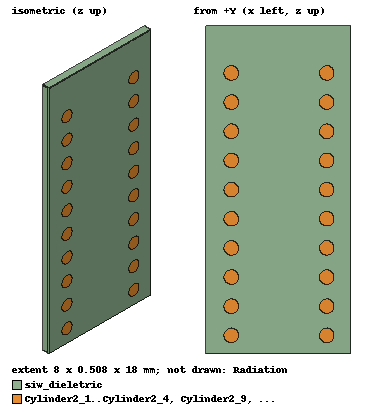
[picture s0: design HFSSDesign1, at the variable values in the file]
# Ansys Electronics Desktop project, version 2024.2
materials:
  vacuum: permittivity=1
  copper: permeability=0.999991 conductivity=58000000
  air: permittivity=1.0006 permeability=1.0000004
  Arlon DiClad 880 (tm): permittivity=2.2 dielectric_loss_tangent=0.0009
  Al2_O3_ceramic: permittivity=9.8
  Arlon 25FR (tm): permittivity=3.58 dielectric_loss_tangent=0.0035

design HFSSDesign1 (HFSS, HFSS Modal Network, model units mm)
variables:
  a = 8mm
  b = 0.508mm
  L = 18mm
  th = 0.05mm
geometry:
  Radiation [air] = box(corner=(-a/2 -2.5mm, -b/2 -2.5mm, 0mm), size=(a+5mm, b+5mm, L))
  siw_dieletric [Arlon DiClad 880 (tm)] = box(corner=(-a/2, -b/2, 0mm), size=(a, b, L))
  Cylinder1 [copper] = cylinder(axis=Y, base_centre=(-a/4, -b/2, 1.5mm), radius=0.4mm, height=b)
  Cylinder1copia = cylinder(axis=Y, base_centre=(-a/4, -b/2, 1.5mm), radius=0.75mm, height=b)
  Cylinder1.subtract(Cylinder1copia)
  Cylinder1_2..Cylinder1_10 [copper] = Cylinder1.duplicate_along_line(step=(0mm, 0mm, 1.6mm), total=10)
  Cylinder1_11 [copper] = Cylinder1.duplicate_along_line(step=(5.237mm, 0mm, 0mm), total=2)
  Cylinder1_11_1..Cylinder1_11_9 [copper] = Cylinder1_11.duplicate_along_line(step=(0mm, 0mm, 1.6mm), total=10)
  Cylinder2 [copper] = cylinder(axis=Y, base_centre=(-a/3, -b/2, 1mm), radius=0.4mm, height=b)
  Cylinder2_1..Cylinder2_9 [copper] = Cylinder2.duplicate_along_line(step=(0mm, 0mm, 1.6mm), total=10)
  Cylinder2_10 [copper] = Cylinder2.duplicate_along_line(step=(5.237mm, 0mm, 0mm), total=2)
  Cylinder2_10_1..Cylinder2_10_9 [copper] = Cylinder2_10.duplicate_along_line(step=(0mm, 0mm, 1.6mm), total=10)
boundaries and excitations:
  Rad1: Radiation Objects=Radiation
  1: Wave Port Faces=siw_dieletric.face(-z) WavePortType=Default NumModes=4 Modes{Mode1{IntLine{(0, -0.254, 0) -> (0, 0.254, 0)} CharImp=Zpi} Mode2{CharImp=Zpi} Mode3{CharImp=Zpi} Mode4{CharImp=Zpi}}
  2: Wave Port Faces=siw_dieletric.face(+z) WavePortType=Default NumModes=4 Modes{Mode1{IntLine{(0, -0.254, 18) -> (0, 0.254, 18)} CharImp=Zpi} Mode2{CharImp=Zpi} Mode3{CharImp=Zpi} Mode4{CharImp=Zpi}}
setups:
  Setup1: HfssDriven Frequency=80GHz MaxDeltaS=0.02 MaximumPasses=20 MinimumPasses=1 MinimumConvergedPasses=1 PercentRefinement=30 BasisOrder=1 PortAccuracy=2 DrivenSolverType="Direct Solver"
    sweep Sweep: 19GHz to 90GHz step 1GHz; Type=Discrete SaveFields
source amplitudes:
  1:1: 1W 0deg
  1:2, 1:3, 1:4, 2:1..2:4: 0W 0deg
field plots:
  Mag_E1: E Field in siw_dieletric on Setup1 : Sweep at Freq=40GHz Phase=0deg
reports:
  Gamma Plot 1: im(Gamma(1:1)), im(Gamma(1:2)), im(Gamma(1:3)) vs Freq on Setup1 : Sweep; markers m1 at 25GHz, m2 at 37GHz
